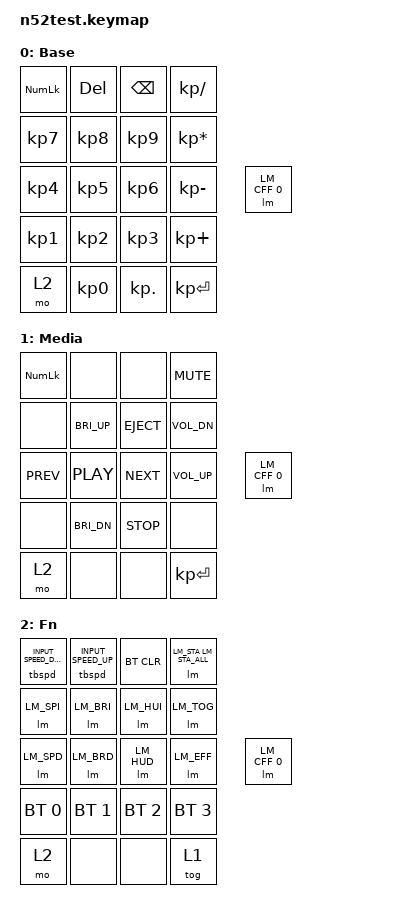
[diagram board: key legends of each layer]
/*
 * Copyright (c) 2026 The ZMK Contributors
 * SPDX-License-Identifier: MIT
 */

#include <behaviors.dtsi>
#include <dt-bindings/zmk/keys.h>
#include <dt-bindings/zmk/bt.h>
#include <dt-bindings/zmk/input_speed.h>
#include <dt-bindings/zmk/led_matrix.h>

/ {
    keymap {
        compatible = "zmk,keymap";

        default_layer {
            display-name = "Base";
            bindings = <
                &kp KP_NLCK  &kp DEL        &kp BSPC         &kp KP_DIVIDE
                &kp KP_N7    &kp KP_N8      &kp KP_N9        &kp KP_MULTIPLY
                &kp KP_N4    &kp KP_N5      &kp KP_N6        &kp KP_MINUS
                &kp KP_N1    &kp KP_N2      &kp KP_N3        &kp KP_PLUS
                &mo 2        &kp KP_N0      &kp KP_DOT       &kp KP_ENTER
                &lm LM_CFF 0
            >;
        };

        media_layer {
            display-name = "Media";
            bindings = <
                &kp KP_NLCK  &none          &none            &kp C_MUTE
                &none        &kp C_BRI_UP    &kp C_EJECT      &kp C_VOL_DN
                &kp C_PREV   &kp C_PLAY      &kp C_NEXT       &kp C_VOL_UP
                &none        &kp C_BRI_DN    &kp C_STOP       &none
                &mo 2        &none           &none            &kp KP_ENTER
                &lm LM_CFF 0
            >;
        };

        func_layer {
            display-name = "Fn";
            bindings = <
                &tbspd INPUT_SPEED_DOWN
                              &tbspd INPUT_SPEED_UP
                                            &bt BT_CLR       &lm LM_STA LM_STA_ALL
                &lm LM_SPI    &lm LM_BRI    &lm LM_HUI      &lm LM_TOG
                &lm LM_SPD    &lm LM_BRD    &lm LM_HUD      &lm LM_EFF
                &bt BT_SEL 0  &bt BT_SEL 1  &bt BT_SEL 2    &bt BT_SEL 3
                &mo 2         &none         &none            &tog 1
                &lm LM_CFF 0
            >;
        };
    };
};
